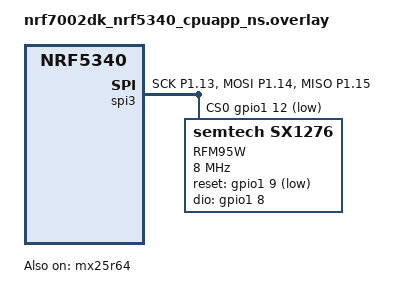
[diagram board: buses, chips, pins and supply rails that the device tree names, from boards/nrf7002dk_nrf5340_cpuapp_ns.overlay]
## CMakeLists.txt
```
#
# Copyright (c) 2020 Nordic Semiconductor
#
# SPDX-License-Identifier: LicenseRef-Nordic-5-Clause
#

cmake_minimum_required(VERSION 3.20.0)

find_package(Zephyr REQUIRED HINTS $ENV{ZEPHYR_BASE})
project(nrf_connect_sdk_intermediate)

# NORDIC SDK APP START
target_sources(app PRIVATE src/main.c)
target_sources(app PRIVATE src/json_payload/json_payload.c)
target_sources(app PRIVATE src/mqtt/mqtt.c)

# LoRa module with encryption support
target_sources(app PRIVATE src/lora/lora.c)
target_sources(app PRIVATE src/lora/packet.c)
target_sources(app PRIVATE src/lora/crypto_min.c)
target_sources(app PRIVATE src/lora/siphash.c)
target_sources(app PRIVATE src/lora/calibration.c)
target_sources(app PRIVATE src/lora/position.c)

zephyr_include_directories(src)
zephyr_include_directories(src/json_payload)
zephyr_include_directories(src/mqtt)
zephyr_include_directories(src/lora)

# Make folder containing private key global so that it can be located by the MCUboot.
zephyr_include_directories_ifdef(CONFIG_BOOT_SIGNATURE_KEY_FILE keys)
```

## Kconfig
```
#
# Copyright (c) 2020 Nordic Semiconductor ASA
#
# SPDX-License-Identifier: LicenseRef-Nordic-5-Clause
#

menu "Misogate Configuration"

config MISOGATE_APP_VERSION
	string "Application version"
	default "0.0.1"

config MISOGATE_MQTT_BROKER_HOSTNAME
	string "MQTT Broker Hostname"
	default "c1412829227647ae9f57545fe534a511.s1.eu.hivemq.cloud"

config MISOGATE_MQTT_BROKER_PORT
	int "MQTT Broker Port"
	default 8883

config MISOGATE_MQTT_CLIENT_ID
	string "MQTT Client ID"
	default "misogate"

config MISOGATE_MQTT_USERNAME
	string "MQTT Username"
	default "default"

config MISOGATE_MQTT_PASSWORD
	string "MQTT Password"
	default "default"

module = MISOGATE
module-str = MISOGATE
source "${ZEPHYR_BASE}/subsys/logging/Kconfig.template.log_config"

endmenu

menu "Zephyr Kernel"
source "Kconfig.zephyr"
endmenu
```

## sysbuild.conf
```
SB_CONFIG_WIFI_NRF70=y

SB_CONFIG_BOOTLOADER_MCUBOOT=y

# Needed for FOTA for nRF5340 and TF-M
SB_CONFIG_MCUBOOT_USE_ALL_AVAILABLE_RAM=y

# External flash configurations
SB_CONFIG_PM_EXTERNAL_FLASH_MCUBOOT_SECONDARY=y
SB_CONFIG_PM_OVERRIDE_EXTERNAL_DRIVER_CHECK=y

# Private Key for MCUboot
SB_CONFIG_BOOT_SIGNATURE_KEY_FILE="\${APP_DIR}/keys/private_key.pem"
SB_CONFIG_BOOT_SIGNATURE_TYPE_ECDSA_P256=y
```

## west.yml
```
manifest:
  projects:
    - name: memfault-firmware-sdk
      url: https://github.com/memfault/memfault-firmware-sdk
      path: modules/lib/memfault-firmware-sdk
      revision: 1.9.0
```

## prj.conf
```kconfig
# ========================================
# Application Specific
# ========================================
CONFIG_MISOGATE_APP_VERSION="0.0.1"

# ========================================
# General System & Libraries
# ========================================
CONFIG_LOG=y
CONFIG_ASSERT=y
CONFIG_REBOOT=y
CONFIG_FPU=y
CONFIG_NEWLIB_LIBC=y
CONFIG_HW_ID_LIBRARY=y
CONFIG_JSON_LIBRARY=y
CONFIG_DK_LIBRARY=y

# ========================================
# Heap and Stacks
# ========================================
CONFIG_HEAP_MEM_POOL_SIZE=32768
CONFIG_MAIN_STACK_SIZE=8192
CONFIG_SYSTEM_WORKQUEUE_STACK_SIZE=4096
CONFIG_NET_CONNECTION_MANAGER_MONITOR_STACK_SIZE=4096
CONFIG_NET_MGMT_EVENT_STACK_SIZE=4096

# ========================================
# Flash & Storage
# ========================================
CONFIG_FLASH=y
CONFIG_FLASH_MAP=y
CONFIG_STREAM_FLASH=y
CONFIG_STREAM_FLASH_ERASE=y

# ========================================
# WiFi
# ========================================
CONFIG_WIFI_CREDENTIALS_STATIC=y
CONFIG_WIFI_CREDENTIALS_STATIC_SSID="AirPennNet-Device"
CONFIG_WIFI_CREDENTIALS_STATIC_PASSWORD="penn1740wifi"

# ========================================
# Networking & Sockets
# ========================================
CONFIG_NETWORKING=y
CONFIG_NET_NATIVE=y
CONFIG_NET_IPV4=y
CONFIG_NET_DHCPV4=y
CONFIG_DNS_RESOLVER=y
CONFIG_NET_CONNECTION_MANAGER=y

# Sockets & TLS
CONFIG_NET_SOCKETS=y
CONFIG_NET_SOCKETS_SOCKOPT_TLS=y
CONFIG_TLS_CREDENTIALS=y
CONFIG_MBEDTLS_ENABLE_HEAP=y
CONFIG_MBEDTLS_SSL_SERVER_NAME_INDICATION=y
CONFIG_MBEDTLS=y
CONFIG_MBEDTLS_HEAP_SIZE=81920

# Network Resources & Limits
CONFIG_ZVFS_OPEN_MAX=24
CONFIG_POSIX_MAX_FDS=9
CONFIG_NET_SOCKETS_TLS_MAX_CONTEXTS=5
CONFIG_NET_TC_TX_COUNT=1
CONFIG_NET_TX_STACK_SIZE=2048
CONFIG_NET_RX_STACK_SIZE=2048

# ========================================
# MQTT
# ========================================
CONFIG_MQTT_LIB=y
CONFIG_MQTT_LIB_TLS=y
CONFIG_MQTT_CLEAN_SESSION=y
CONFIG_MQTT_KEEPALIVE=60

CONFIG_MISOGATE_MQTT_BROKER_HOSTNAME="c1412829227647ae9f57545fe534a511.s1.eu.hivemq.cloud"
CONFIG_MISOGATE_MQTT_BROKER_PORT=8883
CONFIG_MISOGATE_MQTT_CLIENT_ID="misogate-001"
CONFIG_MISOGATE_MQTT_USERNAME="misogate"
CONFIG_MISOGATE_MQTT_PASSWORD="RAanQxVbTHNeAg6"

# ========================================
# LoRa / Radio Support
# ========================================
CONFIG_LORA=y
CONFIG_LORA_LOG_LEVEL_INF=y
CONFIG_LOG_MODE_IMMEDIATE=y
CONFIG_SPI=y
CONFIG_GPIO=y

# ========================================
# Memfault Configuration
# ========================================
# CONFIG_MEMFAULT=y
# CONFIG_MEMFAULT_NCS_PROJECT_KEY="yiOkY8kF0mxCyfeDjLASlf0SBeYxDpM0"

# CONFIG_MEMFAULT_LOGGING_ENABLE=y
# CONFIG_MEMFAULT_LOG_LEVEL_DBG=y

# CONFIG_MEMFAULT_HTTP_ENABLE=n
# CONFIG_MEMFAULT_HTTP_PERIODIC_UPLOAD=n
# CONFIG_MEMFAULT_ROOT_CERT_STORAGE_TLS_CREDENTIAL_STORAGE=n
# CONFIG_MEMFAULT_NCS_PROVISION_CERTIFICATES=n


# ========================================
# Console / UART
# ========================================
CONFIG_CONSOLE=y
CONFIG_UART_CONSOLE=y
CONFIG_CONSOLE_SUBSYS=y
CONFIG_CONSOLE_GETLINE=y

# ========================================
# Debug
# ========================================
# CONFIG_THREAD_STACK_INFO=y
# CONFIG_INIT_STACKS=y
# CONFIG_THREAD_ANALYZER=y


# # Device Info
# CONFIG_MEMFAULT_NCS_DEVICE_ID_STATIC=y
# CONFIG_MEMFAULT_NCS_DEVICE_ID="gate001"
# CONFIG_MEMFAULT_NCS_FW_VERSION_STATIC=y
# CONFIG_MEMFAULT_NCS_FW_VERSION="0.0.1"
# CONFIG_MEMFAULT_NCS_FW_TYPE="main"

# # Connectivity & Logging
# # CONFIG_MEMFAULT_SHELL=y

# # Coredump
# CONFIG_MEMFAULT_NCS_INTERNAL_FLASH_BACKED_COREDUMP=y
# CONFIG_MEMFAULT_COREDUMP_COLLECT_BSS_REGIONS=y

# # ========================================
# # FOTA & DFU (Memfault + General)
# # ========================================
# CONFIG_MEMFAULT_FOTA=y
# CONFIG_MEMFAULT_FOTA_CLI_CMD=y
# CONFIG_FOTA_DOWNLOAD=y
# CONFIG_FOTA_DOWNLOAD_PROGRESS_EVT=y

# # Download Client
# CONFIG_DOWNLOAD_CLIENT=y
# CONFIG_DOWNLOAD_CLIENT_MAX_FILENAME_SIZE=512
# CONFIG_DOWNLOAD_CLIENT_STACK_SIZE=4096

# # # DFU & Image Manager
# CONFIG_DFU_TARGET=y
# CONFIG_IMG_MANAGER=y
```

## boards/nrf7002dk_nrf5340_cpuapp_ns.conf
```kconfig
# Wi-Fi
CONFIG_WIFI=y
CONFIG_WIFI_NRF70=y
CONFIG_WIFI_CREDENTIALS=y
CONFIG_FLASH=y
CONFIG_FLASH_PAGE_LAYOUT=y
CONFIG_FLASH_MAP=y

# WPA
CONFIG_WIFI_NM_WPA_SUPPLICANT=y

# NET sockets
CONFIG_NET_L2_ETHERNET=y
CONFIG_NET_UDP=y
CONFIG_NET_TCP=y
CONFIG_NET_SOCKETS_OFFLOAD=n
CONFIG_NET_DHCPV4=y
CONFIG_NET_CONTEXT_SNDTIMEO=y
CONFIG_NET_CONTEXT_RCVTIMEO=y
CONFIG_NET_RX_STACK_SIZE=2048

# DNS
CONFIG_DNS_RESOLVER=y
CONFIG_NET_SOCKETS_DNS_TIMEOUT=30000

# Native network stack
CONFIG_NRF_SECURITY=y
CONFIG_MBEDTLS=y
CONFIG_MBEDTLS_ENABLE_HEAP=y
CONFIG_MBEDTLS_RSA_C=y
CONFIG_MBEDTLS_SSL_SERVER_NAME_INDICATION=y

# NET Sockets
CONFIG_NET_SOCKETS_SOCKOPT_TLS=y
CONFIG_NET_SOCKETS_TLS_MAX_CONTEXTS=4

# Zephyr NET Connection Manager Connectivity layer.
CONFIG_L2_WIFI_CONNECTIVITY=y
CONFIG_L2_WIFI_CONNECTIVITY_AUTO_CONNECT=n
CONFIG_L2_WIFI_CONNECTIVITY_AUTO_DOWN=n

# Serial Peripheral Interface (SPI) - Used to communicate with the mx25r64 external flash memory.
CONFIG_SPI=y
CONFIG_SPI_NOR=y
CONFIG_SPI_NOR_SFDP_DEVICETREE=y
CONFIG_PM_OVERRIDE_EXTERNAL_DRIVER_CHECK=y

# Bootloader and FOTA related configurations

# MCUBOOT
CONFIG_MCUBOOT_IMG_MANAGER=y

# Image manager
CONFIG_IMG_MANAGER=y
CONFIG_STREAM_FLASH=y
CONFIG_IMG_ERASE_PROGRESSIVELY=y

# TLS credentials
CONFIG_TLS_CREDENTIALS_BACKEND_PROTECTED_STORAGE=y

# Optimize TF-M
CONFIG_TFM_PROFILE_TYPE_SMALL=y
CONFIG_PM_PARTITION_SIZE_TFM_SRAM=0xc000
CONFIG_PM_PARTITION_SIZE_TFM=0x1fe00
```

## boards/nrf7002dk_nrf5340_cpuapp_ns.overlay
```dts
/*
 * Copyright (c) 2023 Nordic Semiconductor ASA
 *
 * SPDX-License-Identifier: LicenseRef-Nordic-5-Clause
 */

/ {
	/* Configure the partition manager to use the mx25r64 external flash memory. */
	chosen {
		nordic,pm-ext-flash = &mx25r64;
	};
};


&mx25r64 {
	status = "okay";
};


/ {
    aliases {
        lora0 = &rfm95;
    };
};

/* ===== SPI3 for RFM95 LoRa ===== */
&spi3 {
    compatible = "nordic,nrf-spim";
    status = "okay";
    pinctrl-0 = <&spi3_default>;
    pinctrl-1 = <&spi3_sleep>;
    pinctrl-names = "default", "sleep";
    cs-gpios = <&gpio1 12 GPIO_ACTIVE_LOW>;

    rfm95: sx1276@0 {
        compatible = "semtech,sx1276";
        reg = <0>;
        label = "RFM95W";
        spi-max-frequency = <8000000>;

        reset-gpios = <&gpio1 9 GPIO_ACTIVE_LOW>;
        dio-gpios   = <&gpio1 8 GPIO_ACTIVE_HIGH>;
        power-amplifier-output = "pa-boost";
    };
};

&pinctrl {
    spi3_default: spi3_default {
        group1 {
            psels = <NRF_PSEL(SPIM_SCK,  1, 13)>,
                    <NRF_PSEL(SPIM_MOSI, 1, 14)>,
                    <NRF_PSEL(SPIM_MISO, 1, 15)>;
        };
    };

    spi3_sleep: spi3_sleep {
        group1 {
            psels = <NRF_PSEL(SPIM_SCK,  1, 13)>,
                    <NRF_PSEL(SPIM_MOSI, 1, 14)>,
                    <NRF_PSEL(SPIM_MISO, 1, 15)>;
            low-power-enable;
        };
    };
};
```

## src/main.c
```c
#include <dk_buttons_and_leds.h>
#include <hw_id.h>
#include <modem/modem_info.h>
#include <stdio.h>
#include <stdlib.h>
#include <zephyr/dfu/mcuboot.h>
#include <zephyr/kernel.h>
#include <zephyr/logging/log.h>
#include <zephyr/logging/log_ctrl.h>
#include <zephyr/net/conn_mgr_connectivity.h>
#include <zephyr/net/conn_mgr_monitor.h>
#include <zephyr/net/net_if.h>
#include <zephyr/sys/reboot.h>

#include "json_payload.h"
#include "lora/lora.h"
#include "mqtt/mqtt.h"

/* Register log module */
LOG_MODULE_REGISTER(misogate, CONFIG_MISOGATE_LOG_LEVEL);

/* Macros used to subscribe to specific Zephyr NET management events. */
#define L4_EVENT_MASK (NET_EVENT_L4_CONNECTED | NET_EVENT_L4_DISCONNECTED)
#define CONN_LAYER_EVENT_MASK (NET_EVENT_CONN_IF_FATAL_ERROR)

#define FATAL_ERROR()                                                          \
  LOG_ERR("Fatal error! Rebooting the device.");                               \
  LOG_PANIC();                                                                 \
  IF_ENABLED(CONFIG_REBOOT, (sys_reboot(0)))

/* Zephyr NET management event callback structures. */
static struct net_mgmt_event_callback l4_cb;
static struct net_mgmt_event_callback conn_cb;

/* Forward declarations. */
static void connect_work_fn(struct k_work *work);
static void mqtt_process_work_fn(struct k_work *work);

static K_WORK_DELAYABLE_DEFINE(connect_work, connect_work_fn);
static K_WORK_DELAYABLE_DEFINE(mqtt_process_work, mqtt_process_work_fn);

static bool mqtt_initialized = false;
static bool lora_initialized = false;
static bool lora_started = false;

static void mqtt_process_work_fn(struct k_work *work) {
  mqtt_app_input();
  k_work_reschedule(&mqtt_process_work, K_MSEC(100)); // Poll every 100ms
}

static void connect_work_fn(struct k_work *work) {
  int err;

  if (!mqtt_initialized) {
    err = mqtt_app_init();
    if (err) {
      LOG_ERR("mqtt_app_init, error: %d", err);
      FATAL_ERROR();
      return;
    }
    mqtt_initialized = true;
  }

  LOG_INF("Connecting to MQTT broker...");

  err = mqtt_app_connect_with_retries();
  if (err) {
    LOG_ERR("mqtt_app_connect_with_retries failed: %d. Retrying...", err);
    (void)k_work_reschedule(&connect_work, K_SECONDS(5));
    return;
  }

  /* Wait for MQTT connection to be fully established (CONNACK received) */
  err = mqtt_wait_connected(10000); /* 10 second timeout */
  if (err) {
    LOG_ERR("mqtt_wait_connected failed: %d. Retrying...", err);
    mqtt_app_disconnect();
    (void)k_work_reschedule(&connect_work, K_SECONDS(5));
    return;
  }

  /* Now MQTT is fully connected - start processing input for
   * keepalive/subscriptions */
  k_work_reschedule(&mqtt_process_work, K_NO_WAIT);

  /* Mark image as working to avoid reverting to the former image after a
   * reboot. */
#if defined(CONFIG_BOOTLOADER_MCUBOOT)
  LOG_INF("Confirming image");
  boot_write_img_confirmed();
#endif

  /* Start LoRa receiver and calibration now that MQTT is FULLY connected */
  if (lora_initialized && !lora_started) {
    LOG_INF("Starting LoRa receiver thread (MQTT confirmed connected)");
    lora_receiver_start();
    lora_started = true;

    /* Start calibration process - user must enter calibration points
     * via serial terminal before MQTT data will be published */
    LOG_INF("Starting calibration mode - see serial console for instructions");
    lora_start_calibration();
  }
}

static void on_net_event_l4_connected(void) {
  (void)k_work_reschedule(&connect_work, K_SECONDS(5));
}

static void on_net_event_l4_disconnected(void) {
  mqtt_app_disconnect();
  (void)k_work_cancel_delayable(&connect_work);
  (void)k_work_cancel_delayable(&mqtt_process_work);
}

static void l4_event_handler(struct net_mgmt_event_callback *cb, uint32_t event,
                             struct net_if *iface) {
  switch (event) {
  case NET_EVENT_L4_CONNECTED:
    LOG_INF("Network connectivity established");
    on_net_event_l4_connected();
    break;
  case NET_EVENT_L4_DISCONNECTED:
    LOG_INF("Network connectivity lost");
    on_net_event_l4_disconnected();
    break;
  default:
    return;
  }
}

static void connectivity_event_handler(struct net_mgmt_event_callback *cb,
                                       uint32_t event, struct net_if *iface) {
  if (event == NET_EVENT_CONN_IF_FATAL_ERROR) {
    LOG_ERR("NET_EVENT_CONN_IF_FATAL_ERROR");
    FATAL_ERROR();
    return;
  }
}

int main(void) {
  LOG_INF("misogate started, firmware version: %s",
          CONFIG_MISOGATE_APP_VERSION);

  int err;

  /* Initialize LoRa receiver early (before network) */
  err = lora_receiver_init();
  if (err) {
    LOG_ERR("lora_receiver_init failed: %d", err);
    /* Continue without LoRa - WiFi/MQTT can still work */
  } else {
    lora_initialized = true;
    LOG_INF("LoRa receiver initialized successfully");
  }

  /* Print MAC address */
  struct net_if *iface = net_if_get_default();
  if (iface) {
    struct net_linkaddr *link_addr = net_if_get_link_addr(iface);
    if (link_addr && link_addr->len == 6) {
      LOG_INF("MAC address: %02x:%02x:%02x:%02x:%02x:%02x", link_addr->addr[0],
              link_addr->addr[1], link_addr->addr[2], link_addr->addr[3],
              link_addr->addr[4], link_addr->addr[5]);
    }
  }

  /* Setup handler for Zephyr NET Connection Manager events. */
  net_mgmt_init_event_callback(&l4_cb, l4_event_handler, L4_EVENT_MASK);
  net_mgmt_add_event_callback(&l4_cb);

  /* Setup handler for Zephyr NET Connection Manager Connectivity layer. */
  net_mgmt_init_event_callback(&conn_cb, connectivity_event_handler,
                               CONN_LAYER_EVENT_MASK);
  net_mgmt_add_event_callback(&conn_cb);

  LOG_INF("bringing network interface up and connecting to the network");

  err = conn_mgr_all_if_up(true);
  if (err) {
    LOG_ERR("conn_mgr_all_if_up, error: %d", err);
    FATAL_ERROR();
    return err;
  }

  err = conn_mgr_all_if_connect(true);
  if (err) {
    LOG_ERR("conn_mgr_all_if_connect, error: %d", err);
    FATAL_ERROR();
    return err;
  }

  return 0;
}
```

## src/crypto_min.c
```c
#include "crypto_min.h"
#include "siphash.h"
#include <string.h>

static void sip_to_16(uint8_t out16[16],
                      const uint8_t key[16],
                      const uint8_t *label, size_t lab_len)
{
    uint8_t tag[8];
    siphash24(tag, label, lab_len, key);
    memcpy(out16, tag, 8);

    uint8_t lab2[32];
    size_t n = 0;
    for (; n < lab_len && n < sizeof(lab2)-1; ++n) lab2[n] = label[n];
    lab2[n++] = 0xA5; // domain separator
    siphash24(tag, lab2, n, key);
    memcpy(out16 + 8, tag, 8);
}

void kdf_split_keys(const uint8_t k_master[16], uint8_t node_id,
                    uint8_t K_enc_out[16], uint8_t K_mac_out[16])
{
    uint8_t labelE[6] = {'E','N','C', node_id, 0x00, 0x01};
    uint8_t labelM[6] = {'M','A','C', node_id, 0x00, 0x01};
    sip_to_16(K_enc_out, k_master, labelE, sizeof(labelE));
    sip_to_16(K_mac_out, k_master, labelM, sizeof(labelM));
}

void keystream_from_seq(uint8_t *out, size_t n,
                        const uint8_t K_enc[16], uint32_t tx_seq)
{
    /* Generate 8B blocks: SipHash(K_enc, 'S' || tx_seq || block#) */
    uint8_t in[1 + 4 + 4];
    in[0] = 'S';
    in[1] = (uint8_t)(tx_seq >> 0);
    in[2] = (uint8_t)(tx_seq >> 8);
    in[3] = (uint8_t)(tx_seq >> 16);
    in[4] = (uint8_t)(tx_seq >> 24);

    uint8_t tag[8];
    uint32_t block = 0;
    size_t produced = 0;
    while (produced < n) {
        in[5] = (uint8_t)(block >> 0);
        in[6] = (uint8_t)(block >> 8);
        in[7] = (uint8_t)(block >> 16);
        in[8] = (uint8_t)(block >> 24);
        siphash24(tag, in, sizeof(in), K_enc);
        size_t take = (n - produced < 8) ? (n - produced) : 8;
        for (size_t i = 0; i < take; ++i) out[produced + i] = tag[i];
        produced += take;
        block++;
    }
}
```

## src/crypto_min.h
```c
#pragma once
#include <stdint.h>
#include <stddef.h>

/* Derive ENC and MAC subkeys from a 16-byte per-node master key */
void kdf_split_keys(const uint8_t k_master[16], uint8_t node_id,
                    uint8_t K_enc_out[16], uint8_t K_mac_out[16]);

/* Build keystream from K_enc and tx_seq (nonce) */
void keystream_from_seq(uint8_t *out, size_t n,
                        const uint8_t K_enc[16], uint32_t tx_seq);
```
